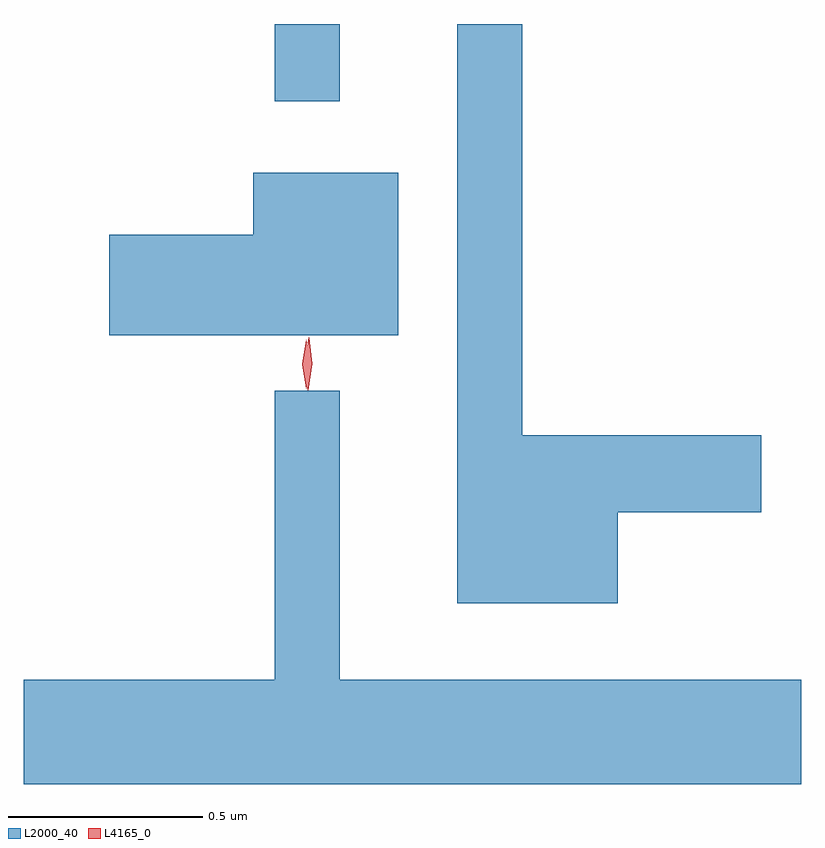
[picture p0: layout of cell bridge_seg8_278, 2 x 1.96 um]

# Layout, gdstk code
import gdstk
lib = gdstk.Library(unit=1e-6, precision=1e-09)
def R(c, l, rs):  # rectangles x0, y0, x1, y1
    for r in rs: c.add(gdstk.rectangle(r[:2], r[2:], *l))
def P(c, l, *ps):  # polygons
    for p in ps: c.add(gdstk.Polygon(p, *l))
L2000_40 = (2000, 40)
L4165_0 = (4165, 0)

bridge_seg8_278 = lib.new_cell('bridge_seg8_278')
R(bridge_seg8_278, L2000_40, [(1049.701,1809.313,1049.869,1809.512)])
P(bridge_seg8_278, L2000_40, [(1050.584,1808.256),(1050.954,1808.256),(1050.954,1808.454),(1050.339,1808.454),(1050.339,1809.512),(1050.171,1809.512),(1050.171,1808.021),(1050.584,1808.021)],
  [(1050.019,1809.129),(1049.646,1809.129),(1049.646,1808.969),(1049.276,1808.969),(1049.276,1808.711),(1050.019,1808.711)],
  [(1051.056,1807.824),(1049.869,1807.824),(1049.869,1808.568),(1049.701,1808.568),(1049.701,1807.824),(1049.056,1807.824),(1049.056,1807.556),(1051.056,1807.556)])
P(bridge_seg8_278, L4165_0, [(1049.787,1808.57),(1049.778,1808.638),(1049.789,1808.705),(1049.789,1808.706),(1049.79,1808.705),(1049.798,1808.638),(1049.788,1808.57),(1049.788,1808.57)],
  [(1049.782,1808.573),(1049.782,1808.573),(1049.772,1808.636),(1049.782,1808.699),(1049.782,1808.7),(1049.783,1808.699),(1049.792,1808.636),(1049.783,1808.573)])

lib.write_gds('bridge_seg8_278.gds')
